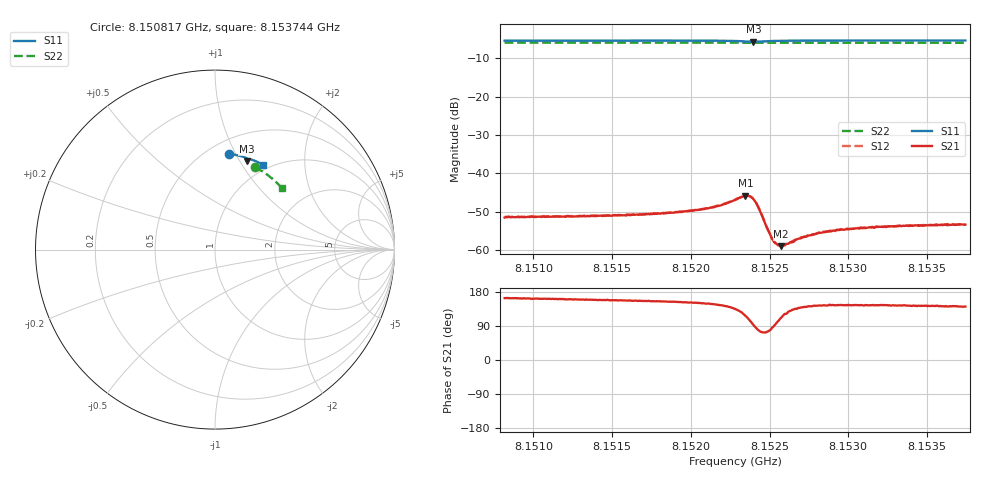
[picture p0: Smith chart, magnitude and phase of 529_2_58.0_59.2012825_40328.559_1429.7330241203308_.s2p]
#  HZ  S  RI  R  50.00
! Rohde & Schwarz Vector Network Analyzer
! Rohde-Schwarz,ZNB20-2Port,1311601062101988,3.16
! Created: UTC 3/21/2024, 1:14:01 AM
! freq[Hz]  re:S11  im:S11  re:S21  im:S21  re:S12  im:S12  re:S22  im:S22
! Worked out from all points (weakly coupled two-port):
!   401 points, 8.150817 GHz to 8.153744 GHz, reference 50 ohm
!   highest |S21| = -45.85 dB at 8.152347 GHz (marker M1); lowest = -59.0 dB at 8.152573 GHz (marker M2)
!   lowest |S11| = -5.6 dB at 8.152398 GHz (marker M3), VSWR 3.19, Z = 39.6 + j53.6 ohm
!   |S11| at or under -10 dB: nowhere
!   |S22| runs from -5.9 to -5.8 dB; largest |S21 - S12| = 0.00012
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8.1508171e9  0.0786 0.5334  -0.00254 0.000764  -0.0026 0.000811  0.2241 0.4586
8.1513074e9  0.1125 0.528  -0.00259 0.000977  -0.00257 0.00103  0.2516 0.4435
8.1517977e9  0.1466 0.5201  -0.00271 0.00127  -0.00272 0.00131  0.2779 0.4267
8.1519514e9  0.1576 0.5169  -0.0028 0.00148  -0.00281 0.00149  0.2861 0.4209
8.1520977e9  0.1686 0.5131  -0.00299 0.00183  -0.00296 0.00184  0.2937 0.4154
8.1521929e9  0.1762 0.5094  -0.00312 0.00222  -0.00314 0.0023  0.2986 0.4117
8.1522807e9  0.1832 0.5032  -0.00316 0.00318  -0.00317 0.00327  0.3028 0.4081
8.1523465e9  0.1846 0.4947  -0.00232 0.00455  -0.00228 0.00457  0.306 0.4053
8.1523758e9  0.1815 0.4914  -0.00118 0.00487  -0.00115 0.00491  0.3071 0.404
8.1523978e9  0.1781 0.4913  -0.000221 0.00461  -0.00013 0.00464  0.3081 0.4032
8.1524124e9  0.1762 0.4925  0.000322 0.00417  0.000381 0.00421  0.3089 0.4028
8.1524344e9  0.1747 0.4955  0.000743 0.00332  0.000791 0.00336  0.3097 0.402
8.1524929e9  0.1786 0.5023  0.000435 0.00172  0.000453 0.00173  0.3128 0.4
8.1525222e9  0.1818 0.5037  7.25e-05 0.00136  0.000114 0.00134  0.3144 0.399
8.1525441e9  0.1842 0.5042  -0.00017 0.0012  -0.000151 0.0012  0.3155 0.398
8.1525734e9  0.1871 0.5044  -0.000411 0.00104  -0.000429 0.00106  0.317 0.3969
8.15261e9  0.1907 0.5042  -0.000642 0.00101  -0.000683 0.00102  0.3189 0.3953
8.1526759e9  0.1964 0.5033  -0.000982 0.000974  -0.000981 0.000932  0.322 0.3927
8.152771e9  0.2039 0.5011  -0.00124 0.000976  -0.00124 0.00101  0.3266 0.3888
8.1529613e9  0.2174 0.4964  -0.00151 0.00106  -0.00151 0.00111  0.3356 0.3805
8.1532613e9  0.2373 0.488  -0.00167 0.00119  -0.00164 0.0012  0.3494 0.3674
8.1537443e9  0.2676 0.4731  -0.00167 0.00135  -0.00168 0.00138  0.3705 0.3453
